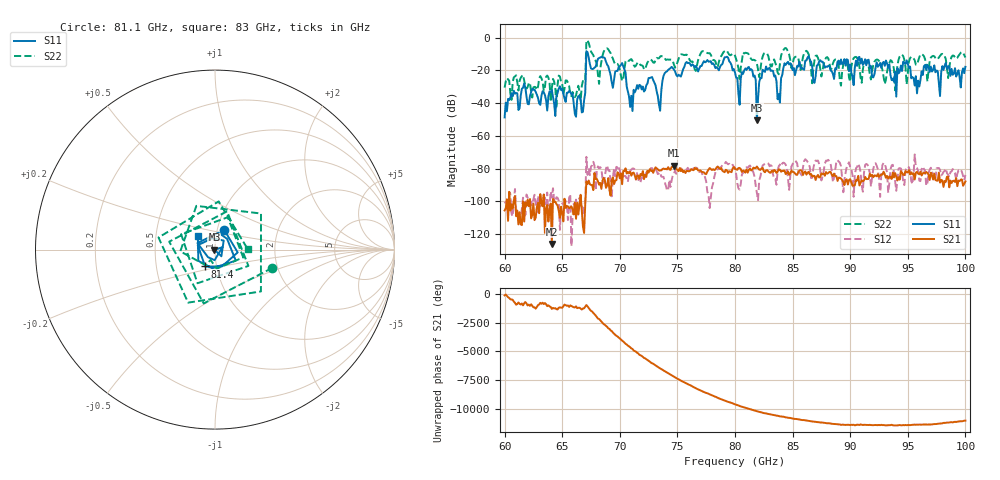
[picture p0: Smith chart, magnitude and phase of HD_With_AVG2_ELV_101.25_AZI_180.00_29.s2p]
! 11/25/2026 10:24:23 AM
! C:\ANRITSUVNA\TEMP\TEMP.S2P
! CHANNEL.1
! TR.MEASUREMENT
! RAW.DATA
# HZ S RI R 50.0
! FREQ.HZ  S11RE  S11IM  S21RE  S21IM  S12RE  S12IM  S22RE  S22IM
!; PortSelection: Port_12
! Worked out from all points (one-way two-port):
!   401 points, 60 GHz to 100 GHz, reference 50 ohm
!   highest |S21| = -78.15 dB at 74.7 GHz (marker M1); lowest = -126.0 dB at 64.1 GHz (marker M2)
!   lowest |S11| = -50.4 dB at 81.9 GHz (marker M3), VSWR 1.01, Z = 49.7 + j0.00755 ohm
!   |S11| at or under -10 dB: start of sweep to 67.09 GHz; 67.24 GHz to end of sweep
!   |S22| runs from -42.9 to -1.7 dB; largest |S21 - S12| = 0.00028
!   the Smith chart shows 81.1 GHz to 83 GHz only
!   S11 on the Smith chart (normalised r, x): 81.1 GHz: 1.08, +0.24; 81.4 GHz: 0.88, -0.17; 83 GHz: 0.82, +0.12
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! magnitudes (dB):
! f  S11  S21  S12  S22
! 60 GHz  -48.8  -105.6  -101.3  -30.5
! 61.6 GHz  -30.6  -100.1  -97.8  -22.8
! 64.1 GHz  -32.1  -126.0  -97.7  -30.8
! 66.7 GHz  -45.7  -105.8  -101.2  -29.5
! 67.3 GHz  -12.1  -87.3  -79.8  -3.2
! 68.4 GHz  -11.8  -92.4  -80.2  -14.7
! 68.9 GHz  -16.4  -90.3  -78.0  -6.5
! 70.3 GHz  -17.5  -81.4  -84.9  -25.5
! 70.9 GHz  -42.4  -81.8  -81.4  -13.5
! 72.7 GHz  -24.3  -81.4  -79.8  -13.3
! 73.4 GHz  -40.9  -81.2  -83.0  -12.6
! 74.7 GHz  -19.6  -78.1  -83.1  -16.5
! 80 GHz  -21.3  -80.1  -79.4  -11.0
! 81.1 GHz  -18.4  -82.5  -79.6  -9.5
! 81.4 GHz  -19.3  -81.1  -79.3  -13.0
! 81.9 GHz  -50.4  -78.7  -94.8  -15.7
! 83 GHz  -18.4  -82.4  -78.6  -14.8
! 83.8 GHz  -34.5  -80.5  -78.5  -22.4
! 84.4 GHz  -16.7  -83.4  -77.6  -6.3
! 86.7 GHz  -17.5  -84.9  -85.7  -27.9
! 93.4 GHz  -16.4  -84.9  -88.9  -15.6
! 100 GHz  -17.8  -87.9  -83.9  -12.1
